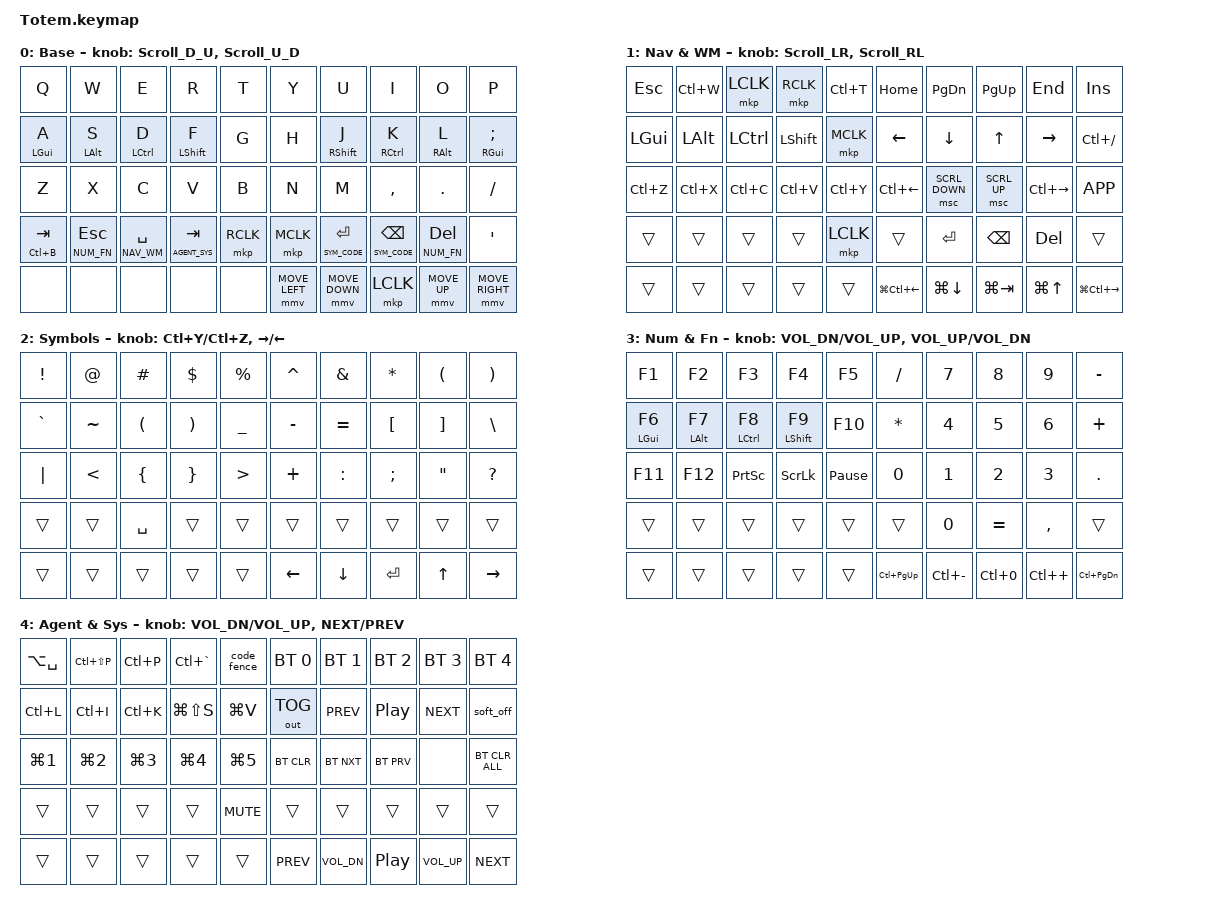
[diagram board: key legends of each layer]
/*
 * Copyright (c) 2020 The ZMK Contributors
 *
 * SPDX-License-Identifier: MIT
 *
 * Custom Mouseless Coding Keymap for TOTEM (with Left Scroll Encoder & Right 5-way Navigation Switch)
 * Optimized for: Neovim, Terminal Multiplexers (Tmux/WezTerm), Coding Agents (Antigravity/Cursor/Claude), and Windows WM
 */

// Pointing / Mouse speed configuration (must be defined before including mouse.h / pointing.h)
#define ZMK_POINTING_DEFAULT_MOVE_VAL 1400  // Tốc độ di chuột bằng 5-way switch
#define ZMK_POINTING_DEFAULT_SCRL_VAL 900   // Tốc độ cuộn bằng con lăn Scroll

#include <input/processors.dtsi>
#include <zephyr/dt-bindings/input/input-event-codes.h>
#include <dt-bindings/zmk/mouse.h>
#include <behaviors/mouse_keys.dtsi>
#include <behaviors.dtsi>
#include <dt-bindings/zmk/bt.h>
#include <dt-bindings/zmk/keys.h>
#include <dt-bindings/zmk/outputs.h>
#include <dt-bindings/zmk/pointing.h>

// Layer definitions
#define BASE      0
#define NAV_WM    1
#define SYM_CODE  2
#define NUM_FN    3
#define AGENT_SYS 4

&mmv_input_listener { input-processors = <&zip_xy_scaler 2 1>; };
&msc_input_listener { input-processors = <&zip_scroll_scaler 2 1>; };

&msc {
    acceleration-exponent = <1>;
    time-to-max-speed-ms = <100>;
    delay-ms = <0>;
};

&mmv {
    time-to-max-speed-ms = <400>;
    acceleration-exponent = <1>;
    trigger-period-ms = <16>;
};

&soft_off {
    hold-time-ms = <3000>;
};

&lt {
    tapping-term-ms = <200>;
    quick-tap-ms = <175>;
    flavor = "balanced";
};

&mt {
    tapping-term-ms = <200>;
    quick-tap-ms = <175>;
    flavor = "tap-preferred";
};

&caps_word {
    continue-list = <UNDERSCORE MINUS BACKSPACE DELETE>;
};

/ {
    behaviors {
        // Home Row Mods tối ưu cho Neovim: chống dính phím khi gõ nhanh nhờ require-prior-idle-ms
        hm: homerow_mods {
            compatible = "zmk,behavior-hold-tap";
            label = "HOMEROW_MODS";
            #binding-cells = <2>;
            tapping-term-ms = <200>;
            quick-tap-ms = <175>;
            require-prior-idle-ms = <125>;
            flavor = "balanced";
            bindings = <&kp>, <&kp>;
        };

        // Cuộn dọc Lên/Xuống bằng con lăn bên Trái
        Scroll_D_U: Scroll_D_U {
            compatible = "zmk,behavior-sensor-rotate";
            label = "SCROLL_D_U";
            #sensor-binding-cells = <0>;
            bindings = <&msc SCRL_DOWN>, <&msc SCRL_UP>;
            tap-ms = <20>;
        };

        Scroll_U_D: Scroll_U_D {
            compatible = "zmk,behavior-sensor-rotate";
            label = "SCROLL_U_D";
            #sensor-binding-cells = <0>;
            bindings = <&msc SCRL_UP>, <&msc SCRL_DOWN>;
            tap-ms = <20>;
        };

        // Cuộn ngang Trái/Phải khi giữ Layer NAV_WM
        Scroll_LR: Scroll_LR {
            compatible = "zmk,behavior-sensor-rotate";
            label = "SCROLL_LR";
            #sensor-binding-cells = <0>;
            bindings = <&msc SCRL_LEFT>, <&msc SCRL_RIGHT>;
            tap-ms = <20>;
        };

        Scroll_RL: Scroll_RL {
            compatible = "zmk,behavior-sensor-rotate";
            label = "SCROLL_RL";
            #sensor-binding-cells = <0>;
            bindings = <&msc SCRL_RIGHT>, <&msc SCRL_LEFT>;
            tap-ms = <20>;
        };
    };

    macros {
        // Lưu file nhanh trong Neovim: <ESC> : w <ENTER>
        vim_save: vim_save {
            compatible = "zmk,behavior-macro";
            #binding-cells = <0>;
            wait-ms = <15>;
            tap-ms = <15>;
            bindings = <&kp ESC &kp COLON &kp W &kp RET>;
            label = "VIM_SAVE";
        };

        // Toán tử mũi tên mỏng: -> (C/C++, Rust, Go, PHP)
        arrow_thin: arrow_thin {
            compatible = "zmk,behavior-macro";
            #binding-cells = <0>;
            bindings = <&kp MINUS &kp GT>;
            label = "ARROW_THIN";
        };

        // Toán tử mũi tên béo: => (JS/TS, Rust, C#)
        arrow_fat: arrow_fat {
            compatible = "zmk,behavior-macro";
            #binding-cells = <0>;
            bindings = <&kp EQUAL &kp GT>;
            label = "ARROW_FAT";
        };

        // Gõ nhanh khối code markdown ``` cho Coding Agent
        code_fence: code_fence {
            compatible = "zmk,behavior-macro";
            #binding-cells = <0>;
            bindings = <&kp GRAVE &kp GRAVE &kp GRAVE>;
            label = "CODE_FENCE";
        };
    };

    combos {
        compatible = "zmk,combos";

        // --- Combos cho Neovim & Coding ---
        // J + K = ESC (Thoát Insert Mode tức thì)
        combo_esc {
            timeout-ms = <40>;
            key-positions = <16 17>;
            bindings = <&kp ESC>;
        };

        // K + L = : (Vào Command Mode của Neovim không cần giữ Shift)
        combo_colon {
            timeout-ms = <40>;
            key-positions = <17 18>;
            bindings = <&kp COLON>;
        };

        // D + F = Lưu file Neovim (:w)
        combo_vim_save {
            timeout-ms = <40>;
            key-positions = <12 13>;
            bindings = <&vim_save>;
        };

        // H + J = ->
        combo_arrow_thin {
            timeout-ms = <40>;
            key-positions = <15 16>;
            bindings = <&arrow_thin>;
        };

        // U + I = =>
        combo_arrow_fat {
            timeout-ms = <40>;
            key-positions = <6 7>;
            bindings = <&arrow_fat>;
        };

        // M + , = Caps Word (Gõ tên biến CONSTANT_CASE tự động tắt khi nhấn Space)
        combo_caps_word {
            timeout-ms = <45>;
            key-positions = <26 27>;
            bindings = <&caps_word>;
        };

        // X + C = Copy trong Terminal (Ctrl+Shift+C)
        combo_term_copy {
            timeout-ms = <45>;
            key-positions = <21 22>;
            bindings = <&kp LC(LS(C))>;
        };

        // C + V = Paste trong Terminal (Ctrl+Shift+V)
        combo_term_paste {
            timeout-ms = <45>;
            key-positions = <22 23>;
            bindings = <&kp LC(LS(V))>;
        };

        // --- Combos vào chế độ nạp Firmware (Bootloader) ---
        boot_left {
            bindings = <&bootloader>;
            key-positions = <33 32 30>;
        };

        boot_right {
            bindings = <&bootloader>;
            key-positions = <36 37 39>;
        };
    };

    keymap {
        compatible = "zmk,keymap";

        /*
         * Sơ đồ vị trí 50 phím (5 hàng x 10 cột):
         * Hàng 0 (0..9):   Q  W  E  R  T               Y  U  I  O  P
         * Hàng 1 (10..19): A  S  D  F  G               H  J  K  L  ;  (Home Row Mods: G-A-C-S)
         * Hàng 2 (20..29): Z  X  C  V  B               N  M  ,  .  /
         * Hàng 3 (30..39): [ÚtT] [T1] [T2] [T3] [EncT] [EncP] [P1] [P2] [P3] [ÚtP]
         * Hàng 4 (40..49): [Nav Trái: 40..44]          [Nav Phải: 45=Trái, 46=Xuống, 47=Giữa, 48=Lên, 49=Phải]
         */

        default_layer {
            display-name = "Base";
            bindings = <
&kp Q        &kp W        &kp E         &kp R         &kp T          &kp Y       &kp U         &kp I         &kp O        &kp P
&hm LGUI A   &hm LALT S   &hm LCTRL D   &hm LSHFT F   &kp G          &kp H       &hm RSHFT J   &hm RCTRL K   &hm RALT L   &hm RGUI SEMI
&kp Z        &kp X        &kp C         &kp V         &kp B          &kp N       &kp M         &kp COMMA     &kp DOT      &kp FSLH
&mt LC(B) TAB &lt NUM_FN ESC &lt NAV_WM SPACE &lt AGENT_SYS TAB &mkp RCLK  &mkp MCLK &lt SYM_CODE RET &lt SYM_CODE BSPC &lt NUM_FN DEL &kp SQT
&none        &none        &none         &none         &none          &mmv MOVE_LEFT &mmv MOVE_DOWN &mkp LCLK &mmv MOVE_UP &mmv MOVE_RIGHT
            >;

            // Con lăn Trái: Cuộn dọc | Con lăn Phải (dự phòng): Cuộn dọc
            sensor-bindings = <&Scroll_D_U>, <&Scroll_U_D>;
        };

        /*
         * LAYER 1: NAV & WINDOW MANAGER (Giữ SPACE ngón cái trái)
         * - Tay phải: Điều hướng HJKL chuẩn Vim + Home/PgDn/PgUp/End + Nhảy từ (Ctrl+Left/Right)
         * - Tay trái: Giữ nguyên Modifiers ở Home Row + Undo/Cut/Copy/Paste + Click chuột Trái/Phải/Giữa
         * - Cụm Navigate 5 hướng bên phải: Chuyển Desktop ảo (Win+Ctrl+Left/Right), Snap cửa sổ (Win+Up/Down), Task View (Win+Tab)
         * - Con lăn bên trái: Cuộn ngang (Scroll Left/Right)
         */
        nav_layer {
            display-name = "Nav & WM";
            bindings = <
&kp ESC      &kp LC(W)    &mkp LCLK     &mkp RCLK     &kp LC(T)      &kp HOME    &kp PG_DN     &kp PG_UP     &kp END      &kp INS
&kp LGUI     &kp LALT     &kp LCTRL     &kp LSHFT     &mkp MCLK      &kp LEFT    &kp DOWN      &kp UP        &kp RIGHT    &kp LC(FSLH)
&kp LC(Z)    &kp LC(X)    &kp LC(C)     &kp LC(V)     &kp LC(Y)      &kp LC(LEFT) &msc SCRL_DOWN &msc SCRL_UP &kp LC(RIGHT) &kp K_APP
&trans       &trans       &trans        &trans        &mkp LCLK      &trans      &kp RET       &kp BSPC      &kp DEL      &trans
&trans       &trans       &trans        &trans        &trans         &kp LG(LC(LEFT)) &kp LG(DOWN) &kp LG(TAB) &kp LG(UP) &kp LG(LC(RIGHT))
            >;

            sensor-bindings = <&Scroll_LR>, <&Scroll_RL>;
        };

        /*
         * LAYER 2: SYMBOLS & CODING (Giữ ENTER hoặc BACKSPACE ngón cái phải)
         * - Toàn bộ ngoặc (), [], {}, <> nằm ngay dưới tay thuận để code nhanh
         * - Cụm Navigate 5 hướng bên phải: Biến thành 4 phím Mũi tên (Left/Down/Up/Right) + Enter ở giữa
         * - Con lăn bên trái: Cuộn để Undo / Redo (Ctrl+Z / Ctrl+Y)
         */
        sym_layer {
            display-name = "Symbols";
            bindings = <
&kp EXCL     &kp AT       &kp HASH      &kp DLLR      &kp PRCNT      &kp CARET   &kp AMPS      &kp ASTRK     &kp LPAR     &kp RPAR
&kp GRAVE    &kp TILDE    &kp LPAR      &kp RPAR      &kp UNDER      &kp MINUS   &kp EQUAL     &kp LBKT      &kp RBKT     &kp BSLH
&kp PIPE     &kp LT       &kp LBRC      &kp RBRC      &kp GT         &kp PLUS    &kp COLON     &kp SEMI      &kp DQT      &kp QMARK
&trans       &trans       &kp SPACE     &trans        &trans         &trans      &trans        &trans        &trans       &trans
&trans       &trans       &trans        &trans        &trans         &kp LEFT    &kp DOWN      &kp RET       &kp UP       &kp RIGHT
            >;

            sensor-bindings = <&inc_dec_kp LC(Y) LC(Z)>, <&inc_dec_kp RIGHT LEFT>;
        };

        /*
         * LAYER 3: NUMPAD & FUNCTION KEYS (Giữ ESC trái hoặc DEL phải)
         * - Tay trái: F1..F12 (phục vụ Debug: F5 Run, F9 Breakpoint, F10 Step Over, F11 Step Into, F12 Go to Def)
         * - Tay phải: Numpad chuẩn để nhập số nhanh
         * - Cụm Navigate 5 hướng bên phải: Chuyển Tab trước/sau (Ctrl+PgUp/PgDn) & Zoom In/Out (Ctrl+Plus/Minus)
         */
        num_layer {
            display-name = "Num & Fn";
            bindings = <
&kp F1       &kp F2       &kp F3        &kp F4        &kp F5         &kp FSLH    &kp N7        &kp N8        &kp N9       &kp MINUS
&hm LGUI F6  &hm LALT F7  &hm LCTRL F8  &hm LSHFT F9  &kp F10        &kp ASTRK   &kp N4        &kp N5        &kp N6       &kp PLUS
&kp F11      &kp F12      &kp PSCRN     &kp SLCK      &kp PAUSE_BREAK &kp N0     &kp N1        &kp N2        &kp N3       &kp DOT
&trans       &trans       &trans        &trans        &trans         &trans      &kp N0        &kp EQUAL     &kp COMMA    &trans
&trans       &trans       &trans        &trans        &trans         &kp LC(PG_UP) &kp LC(MINUS) &kp LC(N0)  &kp LC(PLUS) &kp LC(PG_DN)
            >;

            sensor-bindings = <&inc_dec_kp C_VOL_DN C_VOL_UP>, <&inc_dec_kp C_VOL_UP C_VOL_DN>;
        };

        /*
         * LAYER 4: CODING AGENT, TERMINAL & SYSTEM (Giữ TAB ngón cái trái)
         * - Tay trái: Phím tắt gọi nhanh Coding Agent (Chat, Inline Edit, Command Palette, Terminal, Chụp ảnh màn hình, Clipboard)
         * - Hàng dưới tay trái: Chuyển nhanh ứng dụng/Workspace 1..5 (Win+1..5)
         * - Tay phải: Quản lý kết nối Bluetooth (BT 0..4), Đổi USB/BLE, Tắt nguồn mềm
         */
        agent_sys_layer {
            display-name = "Agent & Sys";
            bindings = <
&kp LA(SPACE) &kp LC(LS(P)) &kp LC(P)   &kp LC(GRAVE) &code_fence    &bt BT_SEL 0 &bt BT_SEL 1 &bt BT_SEL 2 &bt BT_SEL 3 &bt BT_SEL 4
&kp LC(L)    &kp LC(I)    &kp LC(K)     &kp LG(LS(S)) &kp LG(V)      &out OUT_TOG &kp C_PREV   &kp C_PP     &kp C_NEXT   &soft_off
&kp LG(N1)   &kp LG(N2)   &kp LG(N3)    &kp LG(N4)    &kp LG(N5)     &bt BT_CLR   &bt BT_NXT   &bt BT_PRV   &none        &bt BT_CLR_ALL
&trans       &trans       &trans        &trans        &kp C_MUTE     &trans       &trans       &trans       &trans       &trans
&trans       &trans       &trans        &trans        &trans         &kp C_PREV   &kp C_VOL_DN &kp C_PP     &kp C_VOL_UP &kp C_NEXT
            >;

            sensor-bindings = <&inc_dec_kp C_VOL_DN C_VOL_UP>, <&inc_dec_kp C_NEXT C_PREV>;
        };
    };
};
